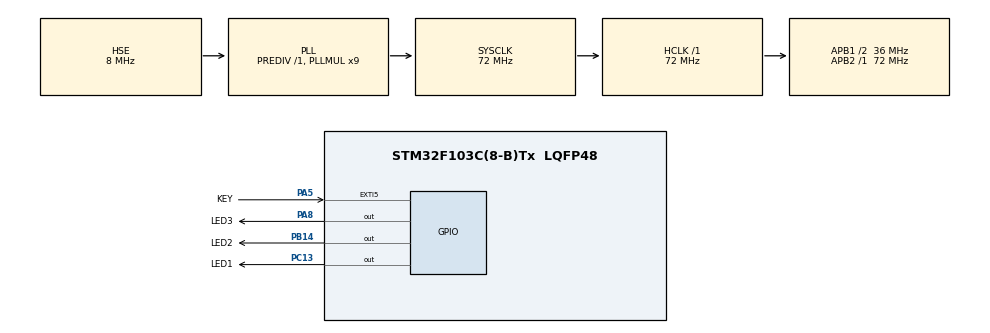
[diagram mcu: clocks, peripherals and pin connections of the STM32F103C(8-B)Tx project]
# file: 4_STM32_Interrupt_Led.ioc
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Mcu.Family=STM32F1
Mcu.Name=STM32F103C(8-B)Tx
Mcu.Package=LQFP48
NVIC.EXTI9_5_IRQn=true\:15\:0\:true\:false\:true\:true\:true\:true
NVIC.PriorityGroup=NVIC_PRIORITYGROUP_4
PA13.Mode=Serial_Wire
PA13.Signal=SYS_JTMS-SWDIO
PA14.Mode=Serial_Wire
PA14.Signal=SYS_JTCK-SWCLK
PA5.GPIO_Label=KEY
PA5.GPIO_ModeDefaultEXTI=GPIO_MODE_IT_RISING_FALLING
PA5.GPIO_PuPd=GPIO_PULLDOWN
PA5.Signal=GPXTI5
PA8.GPIO_Label=LED3
PA8.GPIO_Speed=GPIO_SPEED_FREQ_HIGH
PA8.PinState=GPIO_PIN_RESET
PA8.Signal=GPIO_Output
PB14.GPIO_Label=LED2
PB14.GPIO_Speed=GPIO_SPEED_FREQ_HIGH
PB14.PinState=GPIO_PIN_RESET
PB14.Signal=GPIO_Output
PC13-TAMPER-RTC.GPIO_Label=LED1
PC13-TAMPER-RTC.GPIO_Speed=GPIO_SPEED_FREQ_HIGH
PC13-TAMPER-RTC.PinState=GPIO_PIN_RESET
PC13-TAMPER-RTC.Signal=GPIO_Output
PC14-OSC32_IN.Mode=LSE-External-Oscillator
PC14-OSC32_IN.Signal=RCC_OSC32_IN
PC15-OSC32_OUT.Mode=LSE-External-Oscillator
PC15-OSC32_OUT.Signal=RCC_OSC32_OUT
PD0-OSC_IN.Mode=HSE-External-Oscillator
PD0-OSC_IN.Signal=RCC_OSC_IN
PD1-OSC_OUT.Mode=HSE-External-Oscillator
PD1-OSC_OUT.Signal=RCC_OSC_OUT
ProjectManager.HeapSize=0x200
ProjectManager.StackSize=0x400
ProjectManager.TargetToolchain=MDK-ARM V5.32
RCC.AHBFreq_Value=72000000
RCC.APB1CLKDivider=RCC_HCLK_DIV2
RCC.APB1Freq_Value=36000000
RCC.APB1TimFreq_Value=72000000
RCC.APB2Freq_Value=72000000
RCC.APB2TimFreq_Value=72000000
RCC.HCLKFreq_Value=72000000
RCC.PLLMUL=RCC_PLL_MUL9
RCC.PLLSourceVirtual=RCC_PLLSOURCE_HSE
RCC.SYSCLKFreq_VALUE=72000000
RCC.SYSCLKSource=RCC_SYSCLKSOURCE_PLLCLK
RCC.USBFreq_Value=72000000
board=custom

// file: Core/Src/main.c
/* USER CODE BEGIN Header */
/**
  ******************************************************************************
  * @file           : main.c
  * @brief          : Main program body
  ******************************************************************************
  * @attention
  *
  * Copyright (c) 2025 STMicroelectronics.
  * All rights reserved.
  *
  * This software is licensed under terms that can be found in the LICENSE file
  * in the root directory of this software component.
  * If no LICENSE file comes with this software, it is provided AS-IS.
  *
  ******************************************************************************
  */
/* USER CODE END Header */
#include "main.h"
#include "gpio.h"

/* USER CODE BEGIN PV */
uint8_t led_state = 0;
/* USER CODE END PV */

void SystemClock_Config(void);

/* USER CODE BEGIN 0 */
//可中断延时函数
void delay_with_check(uint32_t ms)
{
  for(uint32_t i = 0; i < ms / 10; i++)
  {
    if(led_state == 0) return;  // 如果状态变为0，立即退出
    HAL_Delay(10);
  }
}

//流水灯函数
void led_flow(void)
{

  HAL_GPIO_WritePin(GPIOC, GPIO_PIN_13, GPIO_PIN_RESET);
  HAL_GPIO_WritePin(GPIOA, GPIO_PIN_8, GPIO_PIN_SET);
  HAL_GPIO_WritePin(GPIOB, GPIO_PIN_14, GPIO_PIN_SET);
  delay_with_check(500);

  if(led_state == 0) return;  // 检查状态
  HAL_GPIO_WritePin(GPIOC, GPIO_PIN_13, GPIO_PIN_SET);
  HAL_GPIO_WritePin(GPIOA, GPIO_PIN_8, GPIO_PIN_RESET);
  HAL_GPIO_WritePin(GPIOB, GPIO_PIN_14, GPIO_PIN_SET);
  delay_with_check(500);

  if(led_state == 0) return;  // 检查状态
  HAL_GPIO_WritePin(GPIOC, GPIO_PIN_13, GPIO_PIN_SET);
  HAL_GPIO_WritePin(GPIOA, GPIO_PIN_8, GPIO_PIN_SET);
  HAL_GPIO_WritePin(GPIOB, GPIO_PIN_14, GPIO_PIN_RESET);
  delay_with_check(500);
}
/* USER CODE END 0 */

int main(void)
{

  /* MCU Configuration--------------------------------------------------------*/

  /* Reset of all peripherals, Initializes the Flash interface and the Systick. */
  HAL_Init();

  /* Configure the system clock */
  SystemClock_Config();

  /* Initialize all configured peripherals */
  MX_GPIO_Init();

  /* Infinite loop */
  while (1)
  {

    /* USER CODE BEGIN 3 */
    if(led_state == 1)
    {
      led_flow();
    }
    else if(led_state == 0)
    {

      HAL_GPIO_WritePin(GPIOC, GPIO_PIN_13, GPIO_PIN_SET);
      HAL_GPIO_WritePin(GPIOA, GPIO_PIN_8, GPIO_PIN_SET);
      HAL_GPIO_WritePin(GPIOB, GPIO_PIN_14, GPIO_PIN_SET);
    }
  }
  /* USER CODE END 3 */
}

void SystemClock_Config(void)
{
  RCC_OscInitTypeDef RCC_OscInitStruct = {0};
  RCC_ClkInitTypeDef RCC_ClkInitStruct = {0};

  /** Initializes the RCC Oscillators according to the specified parameters
  * in the RCC_OscInitTypeDef structure.
  */
  RCC_OscInitStruct.OscillatorType = RCC_OSCILLATORTYPE_HSE;
  RCC_OscInitStruct.HSEState = RCC_HSE_ON;
  RCC_OscInitStruct.HSEPredivValue = RCC_HSE_PREDIV_DIV1;
  RCC_OscInitStruct.HSIState = RCC_HSI_ON;
  RCC_OscInitStruct.PLL.PLLState = RCC_PLL_ON;
  RCC_OscInitStruct.PLL.PLLSource = RCC_PLLSOURCE_HSE;
  RCC_OscInitStruct.PLL.PLLMUL = RCC_PLL_MUL9;
  if (HAL_RCC_OscConfig(&RCC_OscInitStruct) != HAL_OK)
  {
    Error_Handler();
  }

  /** Initializes the CPU, AHB and APB buses clocks
  */
  RCC_ClkInitStruct.ClockType = RCC_CLOCKTYPE_HCLK|RCC_CLOCKTYPE_SYSCLK
                              |RCC_CLOCKTYPE_PCLK1|RCC_CLOCKTYPE_PCLK2;
  RCC_ClkInitStruct.SYSCLKSource = RCC_SYSCLKSOURCE_PLLCLK;
  RCC_ClkInitStruct.AHBCLKDivider = RCC_SYSCLK_DIV1;
  RCC_ClkInitStruct.APB1CLKDivider = RCC_HCLK_DIV2;
  RCC_ClkInitStruct.APB2CLKDivider = RCC_HCLK_DIV1;

  if (HAL_RCC_ClockConfig(&RCC_ClkInitStruct, FLASH_LATENCY_2) != HAL_OK)
  {
    Error_Handler();
  }
}

void Error_Handler(void)
{
  __disable_irq();
  while (1)
  {
  }
}
